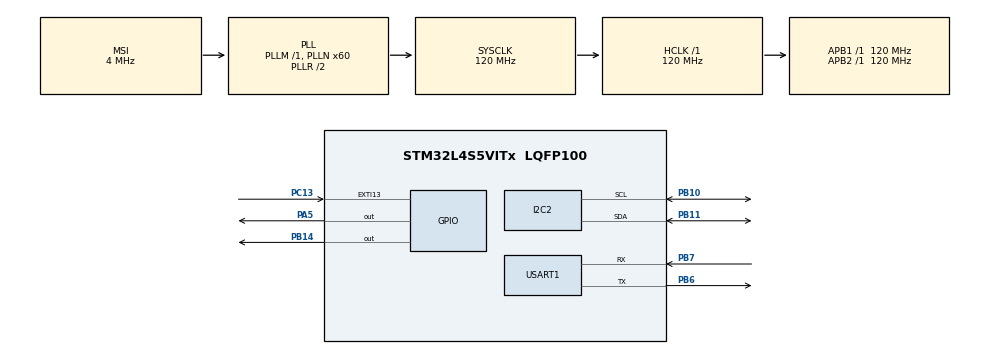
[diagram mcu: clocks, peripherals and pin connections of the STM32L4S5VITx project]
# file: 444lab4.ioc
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FREERTOS.Tasks01=defaultTask,0,128,StartDefaultTask,Default,NULL,Dynamic,NULL,NULL;myTask02,-3,128,StartTask02,Default,NULL,Dynamic,NULL,NULL;myTask03,-3,128,StartTask03,Default,NULL,Dynamic,NULL,NULL
I2C2.Timing=0x30A175AB
Mcu.Family=STM32L4
Mcu.Name=STM32L4S5VITx
Mcu.Package=LQFP100
NVIC.EXTI15_10_IRQn=true\:5\:0\:false\:false\:true\:true\:true\:true\:true
NVIC.PriorityGroup=NVIC_PRIORITYGROUP_4
NVIC.TIM6_DAC_IRQn=true\:15\:0\:false\:false\:true\:false\:false\:true\:true
NVIC.TimeBase=TIM6_DAC_IRQn
NVIC.TimeBaseIP=TIM6
PA5.Signal=GPIO_Output
PB10.Mode=I2C
PB10.Signal=I2C2_SCL
PB11.Mode=I2C
PB11.Signal=I2C2_SDA
PB14.Signal=GPIO_Output
PB6.Mode=Asynchronous
PB6.Signal=USART1_TX
PB7.Mode=Asynchronous
PB7.Signal=USART1_RX
PC13.Signal=GPXTI13
ProjectManager.HeapSize=0x200
ProjectManager.StackSize=0x400
ProjectManager.TargetToolchain=STM32CubeIDE
RCC.ADCFreq_Value=48000000
RCC.AHBFreq_Value=120000000
RCC.APB1Freq_Value=120000000
RCC.APB1TimFreq_Value=120000000
RCC.APB2Freq_Value=120000000
RCC.APB2TimFreq_Value=120000000
RCC.CortexFreq_Value=120000000
RCC.HCLKFreq_Value=120000000
RCC.HSE_VALUE=8000000
RCC.HSI48_VALUE=48000000
RCC.HSI_VALUE=16000000
RCC.LSE_VALUE=32768
RCC.MSI_VALUE=4000000
RCC.PLLN=60
RCC.PLLSAI1N=24
RCC.SYSCLKFreq_VALUE=120000000
RCC.SYSCLKSource=RCC_SYSCLKSOURCE_PLLCLK
RCC.USBFreq_Value=48000000
RCC.VCOOutputFreq_Value=240000000
USART1.VirtualMode-Asynchronous=VM_ASYNC
VP_FREERTOS_VS_CMSIS_V1.Mode=CMSIS_V1
VP_SYS_VS_tim6.Mode=TIM6
board=B-L4S5I-IOT01A

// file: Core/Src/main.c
/* USER CODE BEGIN Header */
/**
  ******************************************************************************
  * @file           : main.c
  * @brief          : Main program body
  ******************************************************************************
  * @attention
  *
  * Copyright (c) 2024 STMicroelectronics.
  * All rights reserved.
  *
  * This software is licensed under terms that can be found in the LICENSE file
  * in the root directory of this software component.
  * If no LICENSE file comes with this software, it is provided AS-IS.
  *
  ******************************************************************************
  */
/* USER CODE END Header */
#include "main.h"
#include "cmsis_os.h"
#include <stdio.h>
#include <string.h>

/* USER CODE BEGIN Includes */
#include "stm32l4s5i_iot01_accelero.h"
#include "stm32l4s5i_iot01_gyro.h"
#include "stm32l4s5i_iot01_hsensor.h"
#include "stm32l4s5i_iot01_magneto.h"
#include "stm32l4s5i_iot01_psensor.h"
#include "stm32l4s5i_iot01_tsensor.h"
#include "stm32l4s5i_iot01.h"
#include <stdio.h>

/* USER CODE END Includes */

I2C_HandleTypeDef hi2c2;

UART_HandleTypeDef huart1;

osThreadId defaultTaskHandle;
osThreadId myTask02Handle;
osThreadId myTask03Handle;
/* USER CODE BEGIN PV */
char global_buffer[100];
float humidity;
int16_t magneto[3];
float gyro[3];
float pressure;
uint8_t change_state = 0;
int counter = 0;
int status;
/* USER CODE END PV */

void SystemClock_Config(void);
static void MX_GPIO_Init(void);
static void MX_I2C2_Init(void);
static void MX_USART1_UART_Init(void);
void StartDefaultTask(void const * argument);
void StartTask02(void const * argument);
void StartTask03(void const * argument);

/* USER CODE BEGIN 0 */

// handles interrupts from the user button
void HAL_GPIO_EXTI_Callback(uint16_t GPIO_PIN) {
	if (GPIO_PIN == myButton_Pin) {
		change_state = 1;
		HAL_GPIO_TogglePin(myLed_GPIO_Port, myLed_Pin);
	}
}

/* USER CODE END 0 */

int main(void)
{

  /* MCU Configuration--------------------------------------------------------*/

  /* Reset of all peripherals, Initializes the Flash interface and the Systick. */
  HAL_Init();

  /* Configure the system clock */
  SystemClock_Config();

  /* Initialize all configured peripherals */
  MX_GPIO_Init();
  MX_I2C2_Init();
  MX_USART1_UART_Init();

  /* Create the thread(s) */
  /* definition and creation of defaultTask */
  osThreadDef(defaultTask, StartDefaultTask, osPriorityNormal, 0, 128);
  defaultTaskHandle = osThreadCreate(osThread(defaultTask), NULL);

  /* definition and creation of myTask02 */
  osThreadDef(myTask02, StartTask02, osPriorityIdle, 0, 128);
  myTask02Handle = osThreadCreate(osThread(myTask02), NULL);

  /* definition and creation of myTask03 */
  osThreadDef(myTask03, StartTask03, osPriorityIdle, 0, 128);
  myTask03Handle = osThreadCreate(osThread(myTask03), NULL);

  /* Start scheduler */
  osKernelStart();

  /* We should never get here as control is now taken by the scheduler */

  /* Infinite loop */
  while (1)
  {

  }
}

void SystemClock_Config(void)
{
  RCC_OscInitTypeDef RCC_OscInitStruct = {0};
  RCC_ClkInitTypeDef RCC_ClkInitStruct = {0};

  /** Configure the main internal regulator output voltage
  */
  if (HAL_PWREx_ControlVoltageScaling(PWR_REGULATOR_VOLTAGE_SCALE1_BOOST) != HAL_OK)
  {
    Error_Handler();
  }

  /** Initializes the RCC Oscillators according to the specified parameters
  * in the RCC_OscInitTypeDef structure.
  */
  RCC_OscInitStruct.OscillatorType = RCC_OSCILLATORTYPE_MSI;
  RCC_OscInitStruct.MSIState = RCC_MSI_ON;
  RCC_OscInitStruct.MSICalibrationValue = 0;
  RCC_OscInitStruct.MSIClockRange = RCC_MSIRANGE_6;
  RCC_OscInitStruct.PLL.PLLState = RCC_PLL_ON;
  RCC_OscInitStruct.PLL.PLLSource = RCC_PLLSOURCE_MSI;
  RCC_OscInitStruct.PLL.PLLM = 1;
  RCC_OscInitStruct.PLL.PLLN = 60;
  RCC_OscInitStruct.PLL.PLLP = RCC_PLLP_DIV2;
  RCC_OscInitStruct.PLL.PLLQ = RCC_PLLQ_DIV2;
  RCC_OscInitStruct.PLL.PLLR = RCC_PLLR_DIV2;
  if (HAL_RCC_OscConfig(&RCC_OscInitStruct) != HAL_OK)
  {
    Error_Handler();
  }

  /** Initializes the CPU, AHB and APB buses clocks
  */
  RCC_ClkInitStruct.ClockType = RCC_CLOCKTYPE_HCLK|RCC_CLOCKTYPE_SYSCLK
                              |RCC_CLOCKTYPE_PCLK1|RCC_CLOCKTYPE_PCLK2;
  RCC_ClkInitStruct.SYSCLKSource = RCC_SYSCLKSOURCE_PLLCLK;
  RCC_ClkInitStruct.AHBCLKDivider = RCC_SYSCLK_DIV1;
  RCC_ClkInitStruct.APB1CLKDivider = RCC_HCLK_DIV1;
  RCC_ClkInitStruct.APB2CLKDivider = RCC_HCLK_DIV1;

  if (HAL_RCC_ClockConfig(&RCC_ClkInitStruct, FLASH_LATENCY_5) != HAL_OK)
  {
    Error_Handler();
  }
}

static void MX_I2C2_Init(void)
{

  hi2c2.Instance = I2C2;
  hi2c2.Init.Timing = 0x30A175AB;
  hi2c2.Init.OwnAddress1 = 0;
  hi2c2.Init.AddressingMode = I2C_ADDRESSINGMODE_7BIT;
  hi2c2.Init.DualAddressMode = I2C_DUALADDRESS_DISABLE;
  hi2c2.Init.OwnAddress2 = 0;
  hi2c2.Init.OwnAddress2Masks = I2C_OA2_NOMASK;
  hi2c2.Init.GeneralCallMode = I2C_GENERALCALL_DISABLE;
  hi2c2.Init.NoStretchMode = I2C_NOSTRETCH_DISABLE;
  if (HAL_I2C_Init(&hi2c2) != HAL_OK)
  {
    Error_Handler();
  }

  /** Configure Analogue filter
  */
  if (HAL_I2CEx_ConfigAnalogFilter(&hi2c2, I2C_ANALOGFILTER_ENABLE) != HAL_OK)
  {
    Error_Handler();
  }

  /** Configure Digital filter
  */
  if (HAL_I2CEx_ConfigDigitalFilter(&hi2c2, 0) != HAL_OK)
  {
    Error_Handler();
  }

}

static void MX_USART1_UART_Init(void)
{

  huart1.Instance = USART1;
  huart1.Init.BaudRate = 115200;
  huart1.Init.WordLength = UART_WORDLENGTH_8B;
  huart1.Init.StopBits = UART_STOPBITS_1;
  huart1.Init.Parity = UART_PARITY_NONE;
  huart1.Init.Mode = UART_MODE_TX_RX;
  huart1.Init.HwFlowCtl = UART_HWCONTROL_NONE;
  huart1.Init.OverSampling = UART_OVERSAMPLING_16;
  huart1.Init.OneBitSampling = UART_ONE_BIT_SAMPLE_DISABLE;
  huart1.Init.ClockPrescaler = UART_PRESCALER_DIV1;
  huart1.AdvancedInit.AdvFeatureInit = UART_ADVFEATURE_NO_INIT;
  if (HAL_UART_Init(&huart1) != HAL_OK)
  {
    Error_Handler();
  }
  if (HAL_UARTEx_SetTxFifoThreshold(&huart1, UART_TXFIFO_THRESHOLD_1_8) != HAL_OK)
  {
    Error_Handler();
  }
  if (HAL_UARTEx_SetRxFifoThreshold(&huart1, UART_RXFIFO_THRESHOLD_1_8) != HAL_OK)
  {
    Error_Handler();
  }
  if (HAL_UARTEx_DisableFifoMode(&huart1) != HAL_OK)
  {
    Error_Handler();
  }

}

static void MX_GPIO_Init(void)
{
  GPIO_InitTypeDef GPIO_InitStruct = {0};

  /* GPIO Ports Clock Enable */
  __HAL_RCC_GPIOC_CLK_ENABLE();
  __HAL_RCC_GPIOA_CLK_ENABLE();
  __HAL_RCC_GPIOB_CLK_ENABLE();

  /*Configure GPIO pin Output Level */
  HAL_GPIO_WritePin(GPIOA, GPIO_PIN_5, GPIO_PIN_RESET);

  /*Configure GPIO pin Output Level */
  HAL_GPIO_WritePin(GPIOB, GPIO_PIN_14, GPIO_PIN_RESET);

  /*Configure GPIO pin : PC13 */
  GPIO_InitStruct.Pin = GPIO_PIN_13;
  GPIO_InitStruct.Mode = GPIO_MODE_IT_RISING;
  GPIO_InitStruct.Pull = GPIO_NOPULL;
  HAL_GPIO_Init(GPIOC, &GPIO_InitStruct);

  /*Configure GPIO pin : PA5 */
  GPIO_InitStruct.Pin = GPIO_PIN_5;
  GPIO_InitStruct.Mode = GPIO_MODE_OUTPUT_PP;
  GPIO_InitStruct.Pull = GPIO_NOPULL;
  GPIO_InitStruct.Speed = GPIO_SPEED_FREQ_LOW;
  HAL_GPIO_Init(GPIOA, &GPIO_InitStruct);

  /*Configure GPIO pin : PB14 */
  GPIO_InitStruct.Pin = GPIO_PIN_14;
  GPIO_InitStruct.Mode = GPIO_MODE_OUTPUT_PP;
  GPIO_InitStruct.Pull = GPIO_NOPULL;
  GPIO_InitStruct.Speed = GPIO_SPEED_FREQ_LOW;
  HAL_GPIO_Init(GPIOB, &GPIO_InitStruct);

  /* EXTI interrupt init*/
  HAL_NVIC_SetPriority(EXTI15_10_IRQn, 5, 0);
  HAL_NVIC_EnableIRQ(EXTI15_10_IRQn);

}

void StartDefaultTask(void const * argument)
{
  /* USER CODE BEGIN 5 */
  /* Infinite loop */
  for(;;)
  {
    osDelay(100);

	  //humidity sensor
	  if (counter == 0){

		  memset(global_buffer, 0, sizeof(global_buffer));
		  sprintf(global_buffer, "Humidity: %d\n\r", (int) humidity);
	  }

	  //magnetometer
	  else if (counter == 1){

		  memset(global_buffer, 0, sizeof(global_buffer));
		  sprintf(global_buffer, "Magnetometer values: %d, %d, %d\n\r", (int) magneto[0], (int) magneto[1], (int) magneto[2]);
	  }

	  //gyroscope
	  else if (counter == 2){

		  memset(global_buffer, 0, sizeof(global_buffer));
		  sprintf(global_buffer, "Gyroscope values: %d, %d, %d\n\r", (int) gyro[0], (int) gyro[1], (int) gyro[2]);
	  }

	  //barometer
	  else if (counter == 3){

		  memset(global_buffer, 0, sizeof(global_buffer));
		  sprintf(global_buffer, "Pressure: %d\n\r", (int) pressure);
	  }

	  status = HAL_UART_Transmit(&huart1, (uint8_t*) global_buffer, strlen(global_buffer), 10000);
	  if (status == HAL_OK)
	  		HAL_GPIO_TogglePin(myLed2_GPIO_Port, myLed2_Pin);

  }
  /* USER CODE END 5 */
}

void StartTask02(void const * argument)
{
  /* USER CODE BEGIN StartTask02 */
  /* Infinite loop */
  for(;;)
  {
    osDelay(100);
    if(change_state){
    	change_state = 0;
    	counter++;
    	counter = counter % 4;
    }

  }
  /* USER CODE END StartTask02 */
}

void StartTask03(void const * argument)
{
  /* USER CODE BEGIN StartTask03 */
	BSP_HSENSOR_Init();		//humidity
	BSP_MAGNETO_Init();		//magnetometer
	BSP_GYRO_Init();			//gyroscope
	BSP_PSENSOR_Init();		//barometer
  /* Infinite loop */
  for(;;)
  {
    osDelay(100);
    humidity = BSP_HSENSOR_ReadHumidity();
    BSP_MAGNETO_GetXYZ(magneto);
    BSP_GYRO_GetXYZ(gyro);
    pressure = BSP_PSENSOR_ReadPressure();
  }
  /* USER CODE END StartTask03 */
}

void HAL_TIM_PeriodElapsedCallback(TIM_HandleTypeDef *htim)
{
  if (htim->Instance == TIM6) {
    HAL_IncTick();
  }
}

void Error_Handler(void)
{
  __disable_irq();
  while (1)
  {
  }
}
